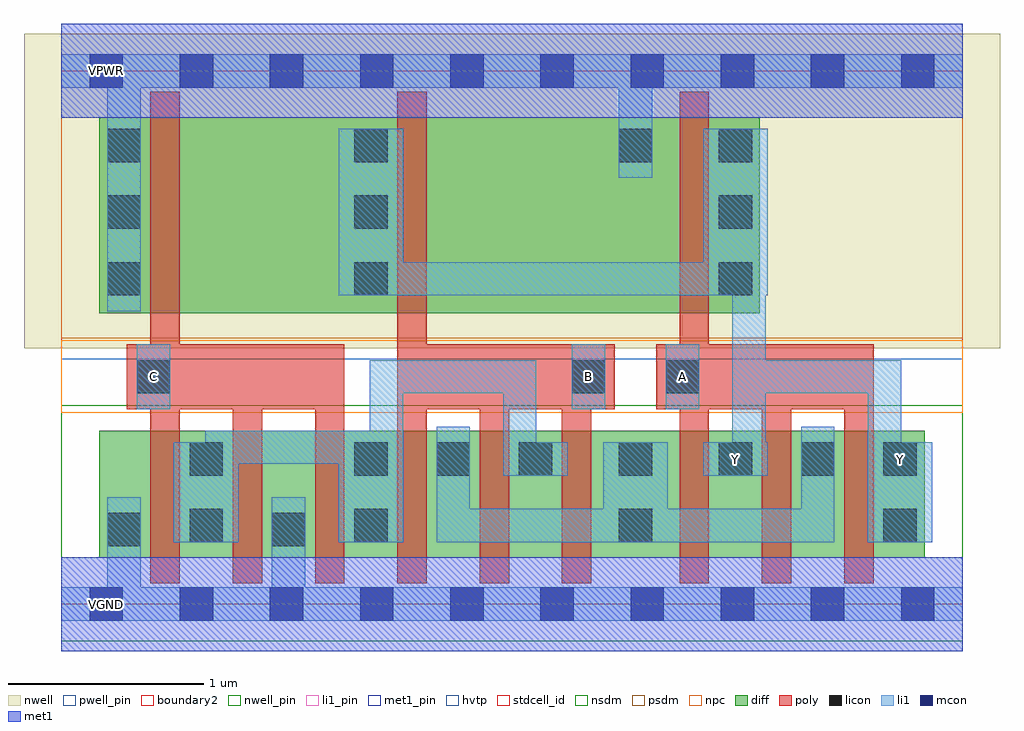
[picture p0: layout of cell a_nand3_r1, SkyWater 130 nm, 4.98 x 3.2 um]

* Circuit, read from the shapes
.subckt a_nand3_r1 A B C VGND VNB VPB VPWR Y
XM1 n1 C VGND VNB sky130_fd_pr__nfet_01v8 w=0.65 l=0.15 m=3
XM2 n2 B n1 VNB sky130_fd_pr__nfet_01v8 w=0.65 l=0.15 m=3
XM3 Y A n2 VNB sky130_fd_pr__nfet_01v8 w=0.65 l=0.15 m=3
XM4 Y C VPWR VPB sky130_fd_pr__pfet_01v8_hvt w=1 l=0.15
XM5 VPWR B Y VPB sky130_fd_pr__pfet_01v8_hvt w=1 l=0.15
XM6 Y A VPWR VPB sky130_fd_pr__pfet_01v8_hvt w=1 l=0.15
.ends

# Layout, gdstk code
import gdstk
lib = gdstk.Library(unit=1e-6, precision=1e-09)
def R(c, l, rs):  # rectangles x0, y0, x1, y1
    for r in rs: c.add(gdstk.rectangle(r[:2], r[2:], *l))
def A(c, l, x, y, w, h, nx, ny, dx, dy):  # array of equal rectangles
    R(c, l, [(x+i*dx, y+j*dy, x+i*dx+w, y+j*dy+h) for i in range(nx) for j in range(ny)])
nwell_pin = (64, 16)
nwell = (64, 20)
diff = (65, 20)
poly = (66, 20)
licon = (66, 44)
li1_pin = (67, 16)
li1 = (67, 20)
mcon = (67, 44)
met1_pin = (68, 16)
met1 = (68, 20)
hvtp = (78, 44)
stdcell_id = (81, 4)
nsdm = (93, 44)
psdm = (94, 20)
npc = (95, 20)
pwell_pin = (122, 16)
boundary2 = (236, 0)

a_nand3_r1 = lib.new_cell('a_nand3_r1')
R(a_nand3_r1, nwell_pin, [(0.145,2.635,0.315,2.805)])
R(a_nand3_r1, nwell, [(-0.19,1.305,4.79,2.91)])
A(a_nand3_r1, diff, 0.74, 0.235, 0.42, 0.65, 4, 1, 0.42, 0)
R(a_nand3_r1, diff, [(0.195,0.235,0.74,0.885), (2.42,0.235,2.93,0.885), (2.93,0.235,3.44,0.885), (3.44,0.235,3.86,0.885), (3.86,0.235,4.405,0.885), (0.195,1.485,1.58,2.485), (1.58,1.485,2.93,2.485), (2.93,1.485,3.565,2.485)])
R(a_nand3_r1, poly, [(0.455,0.105,0.605,2.615), (0.875,0.105,1.025,1.325), (1.295,0.105,1.445,1.325), (1.715,0.105,1.865,2.615), (2.135,0.105,2.285,1.325), (2.555,0.105,2.705,1.325), (3.155,0.105,3.305,2.615), (3.575,0.105,3.725,1.325), (3.995,0.105,4.145,1.325), (0.335,0.995,0.605,1.325), (0.455,0.995,1.445,1.325), (1.715,0.995,2.705,1.325), (2.555,0.995,2.825,1.325), (3.035,0.995,3.305,1.325), (3.155,0.995,4.145,1.325)])
A(a_nand3_r1, licon, 1.495, 0.315, 0.17, 0.17, 3, 1, 1.35, 0)
A(a_nand3_r1, licon, 1.495, 0.655, 0.17, 0.17, 3, 1, 0.42, 0)
A(a_nand3_r1, licon, 3.355, 0.655, 0.17, 0.17, 3, 1, 0.42, 0)
A(a_nand3_r1, licon, 0.235, 1.575, 0.17, 0.17, 1, 3, 0, 0.34)
A(a_nand3_r1, licon, 1.495, 1.575, 0.17, 0.17, 1, 3, 0, 0.34)
A(a_nand3_r1, licon, 3.355, 1.575, 0.17, 0.17, 1, 3, 0, 0.34)
R(a_nand3_r1, licon, [(0.235,0.295,0.405,0.465), (1.075,0.295,1.245,0.465), (0.655,0.315,0.825,0.485), (0.655,0.655,0.825,0.825), (2.845,0.655,3.015,0.825), (0.385,1.075,0.555,1.245), (2.605,1.075,2.775,1.245), (3.085,1.075,3.255,1.245), (2.845,2.255,3.015,2.425)])
R(a_nand3_r1, li1_pin, [(3.355,0.655,3.525,0.825), (4.195,0.655,4.365,0.825), (0.385,1.075,0.555,1.245), (2.605,1.075,2.775,1.245), (3.085,1.075,3.255,1.245)])
A(a_nand3_r1, li1, 1.415, 0.315, 0.33, 0.51, 3, 1, 1.35, 0)
A(a_nand3_r1, li1, 0.575, 0.655, 0.33, 0.17, 3, 1, 0.84, 0)
R(a_nand3_r1, li1, [(0,-0.085,4.6,0.085), (0.235,-0.085,0.405,0.545), (1.075,-0.085,1.245,0.545), (0.575,0.315,0.905,0.825), (1.915,0.315,2.085,0.745), (1.915,0.315,2.935,0.485), (2.765,0.315,2.935,0.825), (2.765,0.315,3.945,0.485), (3.775,0.315,3.945,0.745), (1.915,0.485,2.085,0.575), (1.915,0.485,2.085,0.575), (1.915,0.485,2.085,0.575), (1.915,0.485,2.085,0.575), (3.775,0.485,3.945,0.575), (3.775,0.485,3.945,0.575), (3.775,0.485,3.945,0.575), (3.775,0.485,3.945,0.575), (1.915,0.575,2.085,0.905), (3.775,0.575,3.945,0.905), (0.735,0.655,0.905,0.885), (1.415,0.655,1.585,0.885), (1.575,0.655,1.745,1.245), (2.255,0.655,2.425,1.245), (2.765,0.655,3.095,0.825), (3.275,0.655,3.605,0.825), (3.425,0.655,3.595,1.745), (4.115,0.655,4.445,0.825), (4.115,0.655,4.285,1.245), (0.735,0.715,1.585,0.885), (0.385,0.995,0.555,1.325), (2.605,0.995,2.775,1.325), (3.085,0.995,3.255,1.325), (1.575,1.075,2.425,1.245), (3.425,1.075,4.285,1.245), (0.235,1.495,0.405,2.085), (1.415,1.575,1.745,1.745), (1.415,1.575,1.745,2.085), (1.575,1.575,3.445,1.745), (3.275,1.575,3.605,1.745), (3.275,1.575,3.605,2.085), (0.235,1.835,0.405,2.425), (1.415,1.915,1.745,2.425), (3.275,1.915,3.605,2.425), (0.235,2.085,0.405,2.175), (0.235,2.085,0.405,2.175), (0.235,2.085,0.405,2.175), (0.235,2.085,0.405,2.175), (0.235,2.175,0.405,2.805), (2.845,2.175,3.015,2.805), (0,2.635,4.6,2.805)])
A(a_nand3_r1, mcon, 0.145, -0.085, 0.17, 0.17, 10, 2, 0.46, 2.72)
R(a_nand3_r1, met1_pin, [(0.145,-0.085,0.315,0.085), (0.145,2.635,0.315,2.805)])
R(a_nand3_r1, met1, [(0,-0.24,4.6,0.24), (0,2.48,4.6,2.96)])
R(a_nand3_r1, hvtp, [(0,1.25,4.6,2.72)])
R(a_nand3_r1, stdcell_id, [(0,0,4.6,2.72)])
R(a_nand3_r1, nsdm, [(0,-0.19,4.6,1.015)])
R(a_nand3_r1, psdm, [(0,1.355,4.6,2.91)])
R(a_nand3_r1, npc, [(0,0.975,4.6,1.345)])
R(a_nand3_r1, pwell_pin, [(0.145,-0.085,0.315,0.085)])
R(a_nand3_r1, boundary2, [(0,0,4.6,2.72)])
a_nand3_r1.add(gdstk.Label('A', (3.17,1.16), layer=67, texttype=5))
a_nand3_r1.add(gdstk.Label('B', (2.69,1.16), layer=67, texttype=5))
a_nand3_r1.add(gdstk.Label('C', (0.47,1.16), layer=67, texttype=5))
a_nand3_r1.add(gdstk.Label('Y', (3.44,0.74), layer=67, texttype=5))
a_nand3_r1.add(gdstk.Label('Y', (4.28,0.74), layer=67, texttype=5))
a_nand3_r1.add(gdstk.Label('VGND', (0.23,0), layer=68, texttype=5))
a_nand3_r1.add(gdstk.Label('VPWR', (0.23,2.72), layer=68, texttype=5))
a_nand3_r1.add(gdstk.Label('VPB', (0.23,2.72), layer=64, texttype=5))
a_nand3_r1.add(gdstk.Label('VNB', (0.23,0), layer=64, texttype=59))

lib.write_gds('a_nand3_r1.gds')
